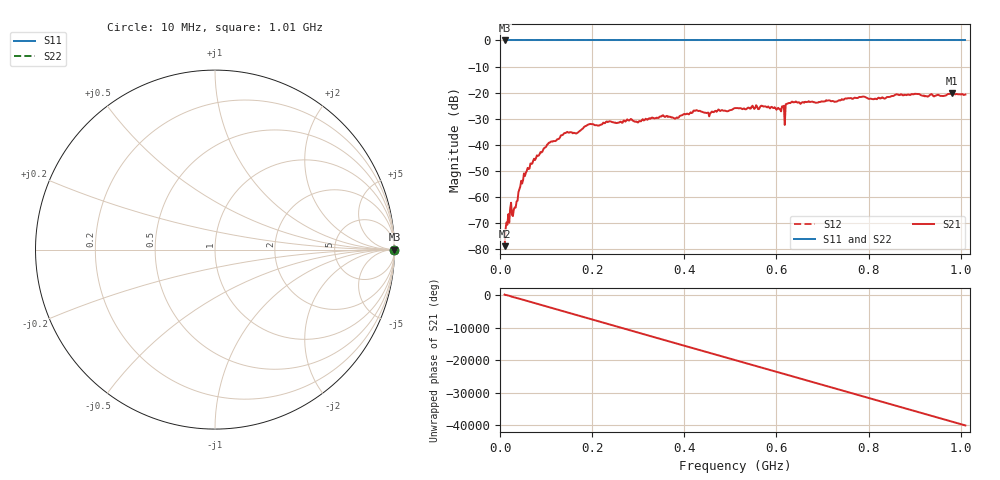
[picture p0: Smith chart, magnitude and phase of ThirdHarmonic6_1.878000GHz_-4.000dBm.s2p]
! 8/16/2025 10:41:21 PM
! C:\ANRITSUVNA\TEMP\TEMP.S2P
! CHANNEL.1
! TR.MEASUREMENT
! RAW.DATA
! RF.CORRECTION.OFF
! AVERAGING.OFF
! IF.BANDWIDTH: 5KHZ
! SWEEPTYPE:  FREQ.SWEEP(Linear)
! Reference Plane Port Info
! PORT:  PORT1  PORT2
! DISTANCE:  0  m  0  m
! TIME:  0  s  0  s
! PHASE.OFFSET:  0  deg.  0  deg.
! LOSS:  0  dB  0  dB
! REF.LOSS:  0  dB  0  dB
! REF.FREQ:  0  Hz  0  Hz
! Power Info
! POWER:  -20  dBm  -20  dBm
! EFF.POWER:  -20  dBm  -20  dBm
! SOURCE.ATTEN:  0  dB  0  dB
! TEST.ATTEN:  0  dB  0  dB
# GHZ S RI R 50.0
! FREQ.GHZ  S11RE  S11IM  S21RE  S21IM  S12RE  S12IM  S22RE  S22IM
!; PortSelection: Port_12
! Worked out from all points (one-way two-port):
!   501 points, 10 MHz to 1.01 GHz, reference 50 ohm
!   highest |S21| = -20.32 dB at 980 MHz (marker M1); lowest = -78.9 dB at 10 MHz (marker M2)
!   lowest |S11| = 0.0 dB at 10 MHz (marker M3)
!   |S11| at or under -10 dB: nowhere
!   |S22| runs from 0.0 to 0.0 dB; largest |S21 - S12| = 1.1
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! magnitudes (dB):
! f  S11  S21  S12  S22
! 10 MHz  0.0  -78.9  0.0  0.0
! 20 MHz  0.0  -69.9  0.0  0.0
! 30 MHz  0.0  -64.8  0.0  0.0
! 48 MHz  0.0  -54.9  0.0  0.0
! 70 MHz  0.0  -47.2  0.0  0.0
! 108 MHz  0.0  -39.2  0.0  0.0
! 142 MHz  0.0  -35.5  0.0  0.0
! 178 MHz  0.0  -34.0  0.0  0.0
! 196 MHz  0.0  -32.0  0.0  0.0
! 344 MHz  0.0  -29.8  0.0  0.0
! 382 MHz  0.0  -29.7  0.0  0.0
! 424 MHz  0.0  -27.0  0.0  0.0
! 452 MHz  0.0  -27.7  0.0  0.0
! 510 MHz  0.0  -25.9  0.0  0.0
! 570 MHz  0.0  -25.2  0.0  0.0
! 612 MHz  0.0  -25.3  0.0  0.0
! 614 MHz  0.0  -25.4  0.0  0.0
! 630 MHz  0.0  -24.0  0.0  0.0
! 678 MHz  0.0  -23.5  0.0  0.0
! 844 MHz  0.0  -21.7  0.0  0.0
! 980 MHz  0.0  -20.3  0.0  0.0
! 1.01 GHz  0.0  -20.7  0.0  0.0
